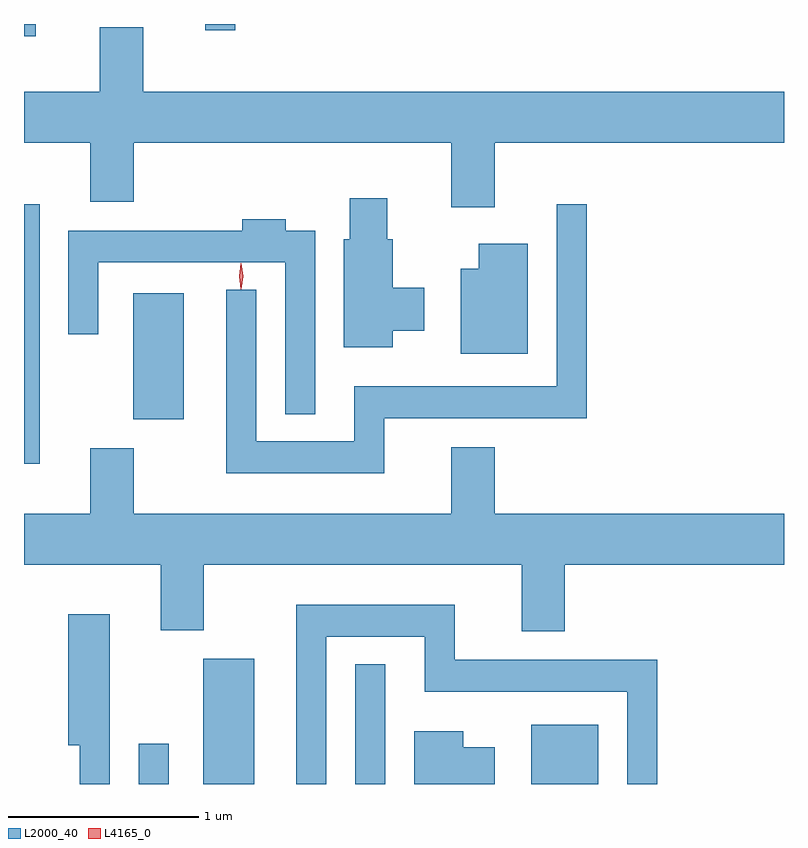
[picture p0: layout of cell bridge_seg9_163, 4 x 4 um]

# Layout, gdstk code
import gdstk
lib = gdstk.Library(unit=1e-6, precision=1e-09)
def R(c, l, rs):  # rectangles x0, y0, x1, y1
    for r in rs: c.add(gdstk.rectangle(r[:2], r[2:], *l))
def P(c, l, *ps):  # polygons
    for p in ps: c.add(gdstk.Polygon(p, *l))
L2000_40 = (2000, 40)
L4165_0 = (4165, 0)

bridge_seg9_163 = lib.new_cell('bridge_seg9_163')
R(bridge_seg9_163, L2000_40, [(1440.736,2068.361,1440.894,2068.573), (1441.076,2068.361,1441.344,2069.019), (1441.876,2068.361,1442.034,2068.992), (1442.801,2068.361,1443.154,2068.674), (1440.132,2070.046,1440.214,2071.413), (1440.706,2070.281,1440.974,2070.944), (1440.132,2072.296,1440.194,2072.361), (1441.086,2072.327,1441.244,2072.361)])
P(bridge_seg9_163, L2000_40, [(1442.609,2071.736),(1444.132,2071.736),(1444.132,2072.004),(1440.759,2072.004),(1440.759,2072.344),(1440.531,2072.344),(1440.531,2072.004),(1440.132,2072.004),(1440.132,2071.736),(1440.481,2071.736),(1440.481,2071.426),(1440.709,2071.426),(1440.709,2071.736),(1442.381,2071.736),(1442.381,2071.396),(1442.609,2071.396)],
  [(1442.074,2070.746),(1442.239,2070.746),(1442.239,2070.974),(1442.074,2070.974),(1442.074,2071.229),(1442.044,2071.229),(1442.044,2071.444),(1441.846,2071.444),(1441.846,2071.229),(1441.816,2071.229),(1441.816,2070.661),(1442.074,2070.661)],
  [(1442.029,2070.286),(1443.094,2070.286),(1443.094,2071.413),(1442.936,2071.413),(1442.936,2070.454),(1441.871,2070.454),(1441.871,2070.164),(1441.354,2070.164),(1441.354,2070.963),(1441.196,2070.963),(1441.196,2069.996),(1442.029,2069.996)],
  [(1441.664,2071.274),(1441.509,2071.274),(1441.509,2071.334),(1441.281,2071.334),(1441.281,2071.274),(1440.366,2071.274),(1440.366,2070.728),(1440.524,2070.728),(1440.524,2071.106),(1441.506,2071.106),(1441.506,2070.308),(1441.664,2070.308)],
  [(1442.784,2071.204),(1442.526,2071.204),(1442.526,2071.074),(1442.431,2071.074),(1442.431,2070.626),(1442.784,2070.626)],
  [(1442.979,2069.516),(1444.132,2069.516),(1444.132,2069.784),(1442.609,2069.784),(1442.609,2070.134),(1442.381,2070.134),(1442.381,2069.784),(1440.709,2069.784),(1440.709,2070.129),(1440.481,2070.129),(1440.481,2069.784),(1440.132,2069.784),(1440.132,2069.516),(1440.851,2069.516),(1440.851,2069.171),(1441.079,2069.171),(1441.079,2069.516),(1442.751,2069.516),(1442.751,2069.166),(1442.979,2069.166)],
  [(1441.724,2069.136),(1442.241,2069.136),(1442.241,2068.846),(1443.306,2068.846),(1443.306,2068.361),(1443.464,2068.361),(1443.464,2069.014),(1442.399,2069.014),(1442.399,2069.304),(1441.566,2069.304),(1441.566,2068.361),(1441.724,2068.361)],
  [(1440.584,2069.254),(1440.366,2069.254),(1440.366,2068.566),(1440.426,2068.566),(1440.426,2068.361),(1440.584,2068.361)],
  [(1442.609,2068.554),(1442.444,2068.554),(1442.444,2068.639),(1442.186,2068.639),(1442.186,2068.361),(1442.609,2068.361)])
P(bridge_seg9_163, L4165_0, [(1441.274,2070.964),(1441.265,2071.033),(1441.274,2071.102),(1441.275,2071.103),(1441.275,2071.102),(1441.285,2071.033),(1441.275,2070.964),(1441.275,2070.964)],
  [(1441.275,2070.967),(1441.274,2070.968),(1441.265,2071.034),(1441.274,2071.1),(1441.274,2071.1),(1441.275,2071.1),(1441.284,2071.034),(1441.275,2070.968)])

lib.write_gds('bridge_seg9_163.gds')
